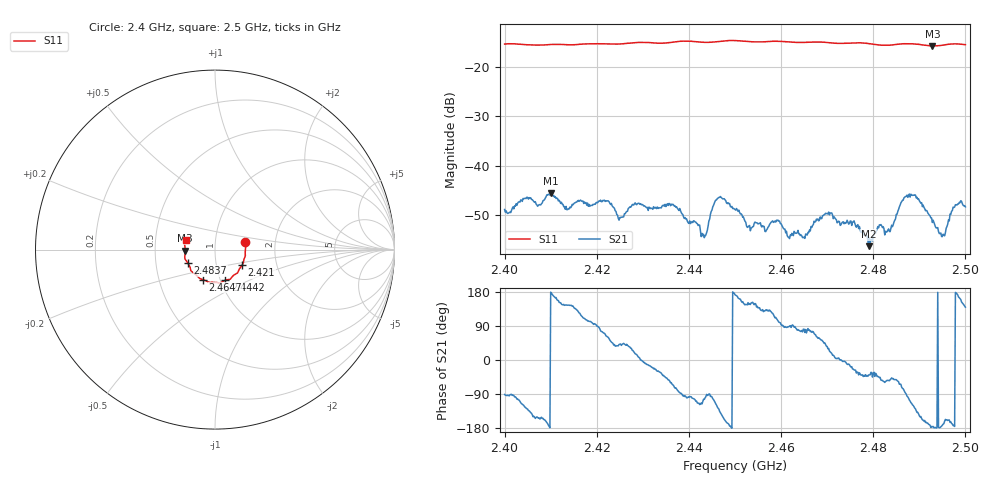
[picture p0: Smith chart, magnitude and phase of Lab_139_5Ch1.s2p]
# Hz S RI R 50
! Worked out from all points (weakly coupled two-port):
!   601 points, 2.4 GHz to 2.5 GHz, reference 50 ohm
!   highest |S21| = -45.71 dB at 2.41 GHz (marker M1); lowest = -56.5 dB at 2.479 GHz (marker M2)
!   lowest |S11| = -15.6 dB at 2.4928 GHz (marker M3), VSWR 1.40, Z = 35.8 - j0.375 ohm
!   |S11| at or under -10 dB: start of sweep to end of sweep
!   S12 and S22 are empty: the file has one direction only
!   S11 on the Smith chart (normalised r, x): 2.4 GHz: 1.40, +0.12; 2.421 GHz: 1.33, -0.24; 2.4442 GHz: 1.05, -0.37; 2.4647 GHz: 0.83, -0.29; 2.4837 GHz: 0.73, -0.11; 2.5 GHz: 0.72, +0.08
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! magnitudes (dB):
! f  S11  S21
! 2.4 GHz  -15.2  -49.0
! 2.41 GHz  -15.3  -45.7
! 2.4167 GHz  -15.2  -47.3
! 2.421 GHz  -15.2  -47.4
! 2.4252 GHz  -15.2  -50.6
! 2.4333 GHz  -15.1  -48.8
! 2.4432 GHz  -14.9  -54.0
! 2.4442 GHz  -14.9  -52.3
! 2.4463 GHz  -14.7  -46.6
! 2.45 GHz  -14.5  -49.0
! 2.453 GHz  -14.7  -52.4
! 2.4647 GHz  -14.9  -54.7
! 2.4667 GHz  -14.8  -52.6
! 2.4705 GHz  -15.0  -50.0
! 2.479 GHz  -15.1  -56.5
! 2.4833 GHz  -15.5  -52.9
! 2.4837 GHz  -15.4  -53.5
! 2.4878 GHz  -15.1  -45.8
! 2.4928 GHz  -15.6  -51.6
! 2.4952 GHz  -15.4  -54.0
! 2.4975 GHz  -15.2  -48.6
! 2.5 GHz  -15.4  -48.4
